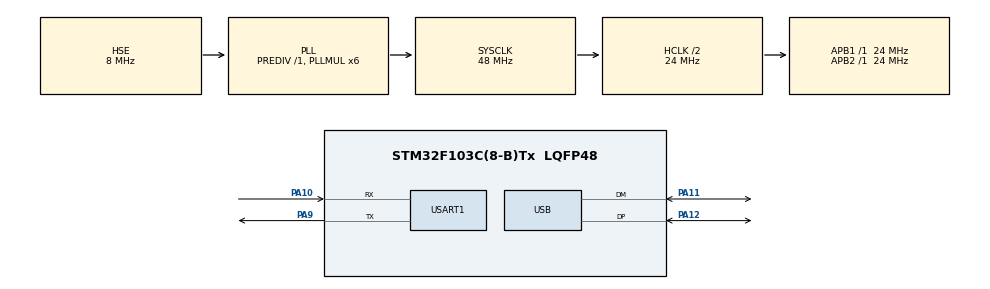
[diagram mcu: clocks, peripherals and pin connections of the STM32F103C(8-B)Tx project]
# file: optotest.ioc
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Dma.Request0=USART1_RX
Dma.USART1_RX.0.Direction=DMA_PERIPH_TO_MEMORY
Dma.USART1_RX.0.Instance=DMA1_Channel5
Dma.USART1_RX.0.MemDataAlignment=DMA_MDATAALIGN_BYTE
Dma.USART1_RX.0.MemInc=DMA_MINC_ENABLE
Dma.USART1_RX.0.Mode=DMA_CIRCULAR
Dma.USART1_RX.0.PeriphDataAlignment=DMA_PDATAALIGN_BYTE
Dma.USART1_RX.0.PeriphInc=DMA_PINC_DISABLE
Dma.USART1_RX.0.Priority=DMA_PRIORITY_LOW
Mcu.Family=STM32F1
Mcu.Name=STM32F103C(8-B)Tx
Mcu.Package=LQFP48
NVIC.DMA1_Channel5_IRQn=true\:0\:0\:false\:false\:true
NVIC.PriorityGroup=NVIC_PRIORITYGROUP_4
NVIC.USART1_IRQn=true\:0\:0\:false\:false\:true
NVIC.USB_LP_CAN1_RX0_IRQn=true\:0\:0\:false\:false\:true
PA10.Mode=IrDA
PA10.Signal=USART1_RX
PA11.Mode=Device
PA11.Signal=USB_DM
PA12.Mode=Device
PA12.Signal=USB_DP
PA9.Mode=IrDA
PA9.Signal=USART1_TX
PC14-OSC32_IN.Mode=LSE-External-Oscillator
PC14-OSC32_IN.Signal=RCC_OSC32_IN
PC15-OSC32_OUT.Mode=LSE-External-Oscillator
PC15-OSC32_OUT.Signal=RCC_OSC32_OUT
PD0-OSC_IN.Mode=HSE-External-Oscillator
PD0-OSC_IN.Signal=RCC_OSC_IN
PD1-OSC_OUT.Mode=HSE-External-Oscillator
PD1-OSC_OUT.Signal=RCC_OSC_OUT
ProjectManager.HeapSize=0x200
ProjectManager.StackSize=0x400
ProjectManager.TargetToolchain=MDK-ARM V5
RCC.AHBCLKDivider=RCC_SYSCLK_DIV2
RCC.AHBFreq_Value=24000000
RCC.APB1Freq_Value=24000000
RCC.APB1TimFreq_Value=24000000
RCC.APB2Freq_Value=24000000
RCC.APB2TimFreq_Value=24000000
RCC.HCLKFreq_Value=24000000
RCC.HSIState=RCC_HSI_ON
RCC.PLLMUL=RCC_PLL_MUL6
RCC.PLLSourceVirtual=RCC_PLLSOURCE_HSE
RCC.SYSCLKFreq_VALUE=48000000
RCC.SYSCLKSource=RCC_SYSCLKSOURCE_PLLCLK
RCC.USBFreq_Value=48000000
USART1.VirtualMode=VM_IRDA
USB_DEVICE.CLASS_NAME_FS=CDC
USB_DEVICE.USBD_HandleTypeDef=hUsbDeviceFS
USB_DEVICE.VirtualMode=Cdc
USB_DEVICE.VirtualModeFS=Cdc_FS
VP_USB_DEVICE_VS_USB_DEVICE_CDC_FS.Mode=CDC_FS
board=optotest

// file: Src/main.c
/**
  ******************************************************************************
  * File Name          : main.c
  * Description        : Main program body
  ******************************************************************************
  *
  * COPYRIGHT(c) 2016 STMicroelectronics
  *
  * Redistribution and use in source and binary forms, with or without modification,
  * are permitted provided that the following conditions are met:
  *   1. Redistributions of source code must retain the above copyright notice,
  *      this list of conditions and the following disclaimer.
  *   2. Redistributions in binary form must reproduce the above copyright notice,
  *      this list of conditions and the following disclaimer in the documentation
  *      and/or other materials provided with the distribution.
  *   3. Neither the name of STMicroelectronics nor the names of its contributors
  *      may be used to endorse or promote products derived from this software
  *      without specific prior written permission.
  *
  * THIS SOFTWARE IS PROVIDED BY THE COPYRIGHT HOLDERS AND CONTRIBUTORS "AS IS"
  * AND ANY EXPRESS OR IMPLIED WARRANTIES, INCLUDING, BUT NOT LIMITED TO, THE
  * IMPLIED WARRANTIES OF MERCHANTABILITY AND FITNESS FOR A PARTICULAR PURPOSE ARE
  * DISCLAIMED. IN NO EVENT SHALL THE COPYRIGHT HOLDER OR CONTRIBUTORS BE LIABLE
  * FOR ANY DIRECT, INDIRECT, INCIDENTAL, SPECIAL, EXEMPLARY, OR CONSEQUENTIAL
  * DAMAGES (INCLUDING, BUT NOT LIMITED TO, PROCUREMENT OF SUBSTITUTE GOODS OR
  * SERVICES; LOSS OF USE, DATA, OR PROFITS; OR BUSINESS INTERRUPTION) HOWEVER
  * CAUSED AND ON ANY THEORY OF LIABILITY, WHETHER IN CONTRACT, STRICT LIABILITY,
  * OR TORT (INCLUDING NEGLIGENCE OR OTHERWISE) ARISING IN ANY WAY OUT OF THE USE
  * OF THIS SOFTWARE, EVEN IF ADVISED OF THE POSSIBILITY OF SUCH DAMAGE.
  *
  ******************************************************************************
  */
#include "stm32f1xx_hal.h"
#include "usb_device.h"

/* USER CODE BEGIN Includes */
#include "usbd_cdc_if.h"
/* USER CODE END Includes */

IRDA_HandleTypeDef hirda1;
DMA_HandleTypeDef hdma_usart1_rx;

/* USER CODE BEGIN PV */
/* Private variables ---------------------------------------------------------*/

/* USER CODE END PV */

void SystemClock_Config(void);
static void MX_GPIO_Init(void);
static void MX_DMA_Init(void);
static void MX_USART1_IRDA_Init(void);

/* USER CODE BEGIN PFP */
/* Private function prototypes -----------------------------------------------*/

/* USER CODE END PFP */

/* USER CODE BEGIN 0 */
uint8_t start = 0;
uint8_t uart_rx_buf[255];

void HAL_SYSTICK_Callback(void){
static uint16_t prev = 0;
	uint32_t time = HAL_GetTick();
	uint16_t position = (0xFF - hirda1.hdmarx->Instance->CNDTR );
	if((start == 1)&&(time%300 == 0)){
	//__HAL_LOCK(huart);
		if(!(hirda1.Instance->SR&USART_SR_RXNE)){
		HAL_IRDA_DMAPause(&hirda1);

			if(prev < position){
				CDC_Transmit_FS(&uart_rx_buf[prev], position - prev);
				prev = position;
			} else if (prev > position)
			{
				CDC_Transmit_FS(&uart_rx_buf[prev], 0xFF - prev);
				prev = 0;
				CDC_Transmit_FS(&uart_rx_buf[prev], position);
				CDC_Transmit_FS("endl\n", 5);
			}

		HAL_IRDA_DMAResume(&hirda1);
		}
	}
	//__HAL_UNLOCK(huart);

}
/* USER CODE END 0 */

int main(void)
{

  /* MCU Configuration----------------------------------------------------------*/

  /* Reset of all peripherals, Initializes the Flash interface and the Systick. */
  HAL_Init();

  /* Configure the system clock */
  SystemClock_Config();

  /* Initialize all configured peripherals */
  MX_GPIO_Init();
  MX_DMA_Init();
  MX_USART1_IRDA_Init();
//  MX_USB_DEVICE_Init();

  /* USER CODE BEGIN 2 */
		HAL_Delay(100);
//HAL_IRDA_Receive_DMA(&hirda1,uart_rx_buf,255);
//	start = 1;
  /* USER CODE END 2 */

  /* Infinite loop */
  while (1)
  {

  /* USER CODE BEGIN 3 */
HAL_IRDA_Transmit(&hirda1,"Heil World!\n", 12, 1000);
				HAL_Delay(1000);
  }
  /* USER CODE END 3 */

}

/** System Clock Configuration
*/
void SystemClock_Config(void)
{

  RCC_OscInitTypeDef RCC_OscInitStruct;
  RCC_ClkInitTypeDef RCC_ClkInitStruct;
  RCC_PeriphCLKInitTypeDef PeriphClkInit;

  RCC_OscInitStruct.OscillatorType = RCC_OSCILLATORTYPE_HSE;
  RCC_OscInitStruct.HSEState = RCC_HSE_ON;
  RCC_OscInitStruct.HSEPredivValue = RCC_HSE_PREDIV_DIV1;
  RCC_OscInitStruct.PLL.PLLState = RCC_PLL_ON;
  RCC_OscInitStruct.PLL.PLLSource = RCC_PLLSOURCE_HSE;
  RCC_OscInitStruct.PLL.PLLMUL = RCC_PLL_MUL6;
  HAL_RCC_OscConfig(&RCC_OscInitStruct);

  RCC_ClkInitStruct.ClockType = RCC_CLOCKTYPE_HCLK|RCC_CLOCKTYPE_SYSCLK
                              |RCC_CLOCKTYPE_PCLK1|RCC_CLOCKTYPE_PCLK2;
  RCC_ClkInitStruct.SYSCLKSource = RCC_SYSCLKSOURCE_PLLCLK;
  RCC_ClkInitStruct.AHBCLKDivider = RCC_SYSCLK_DIV2;
  RCC_ClkInitStruct.APB1CLKDivider = RCC_HCLK_DIV1;
  RCC_ClkInitStruct.APB2CLKDivider = RCC_HCLK_DIV1;
  HAL_RCC_ClockConfig(&RCC_ClkInitStruct, FLASH_LATENCY_0);

  PeriphClkInit.PeriphClockSelection = RCC_PERIPHCLK_USB;
  PeriphClkInit.UsbClockSelection = RCC_USBCLKSOURCE_PLL;
  HAL_RCCEx_PeriphCLKConfig(&PeriphClkInit);

  HAL_SYSTICK_Config(HAL_RCC_GetHCLKFreq()/1000);

  HAL_SYSTICK_CLKSourceConfig(SYSTICK_CLKSOURCE_HCLK);

  /* SysTick_IRQn interrupt configuration */
  HAL_NVIC_SetPriority(SysTick_IRQn, 0, 0);
}

/* USART1 init function */
void MX_USART1_IRDA_Init(void)
{

  hirda1.Instance = USART1;
  hirda1.Init.BaudRate = 512000;
  hirda1.Init.WordLength = IRDA_WORDLENGTH_8B;
  hirda1.Init.Parity = IRDA_PARITY_NONE;
  hirda1.Init.Mode = IRDA_MODE_TX_RX;
  hirda1.Init.Prescaler = 1;
  hirda1.Init.IrDAMode = IRDA_POWERMODE_NORMAL;
  HAL_IRDA_Init(&hirda1);

}

void MX_DMA_Init(void)
{
  /* DMA controller clock enable */
  __HAL_RCC_DMA1_CLK_ENABLE();

  /* DMA interrupt init */
  /* DMA1_Channel5_IRQn interrupt configuration */
  HAL_NVIC_SetPriority(DMA1_Channel5_IRQn, 0, 0);
  HAL_NVIC_EnableIRQ(DMA1_Channel5_IRQn);

}

/** Configure pins as
        * Analog
        * Input
        * Output
        * EVENT_OUT
        * EXTI
*/
void MX_GPIO_Init(void)
{

  /* GPIO Ports Clock Enable */
  __HAL_RCC_GPIOC_CLK_ENABLE();
  __HAL_RCC_GPIOD_CLK_ENABLE();
  __HAL_RCC_GPIOA_CLK_ENABLE();

}

/************************ (C) COPYRIGHT STMicroelectronics *****END OF FILE****/
